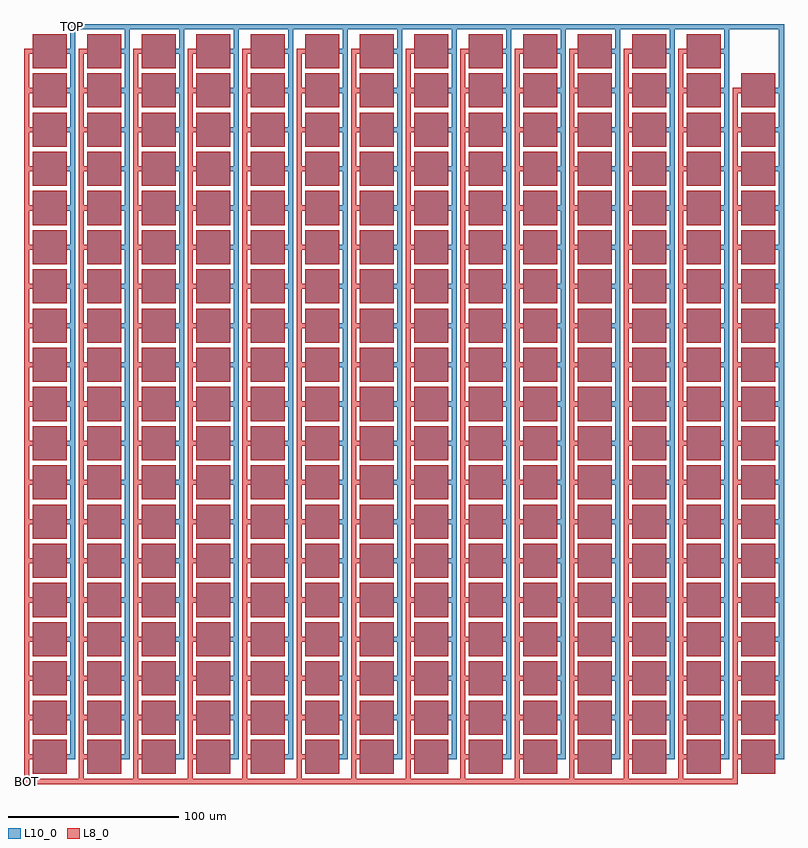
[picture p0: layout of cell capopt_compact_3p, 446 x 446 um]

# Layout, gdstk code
import gdstk
lib = gdstk.Library(unit=1e-6, precision=1e-09)
def R(c, l, rs):  # rectangles x0, y0, x1, y1
    for r in rs: c.add(gdstk.rectangle(r[:2], r[2:], *l))
def A(c, l, x, y, w, h, nx, ny, dx, dy):  # array of equal rectangles
    R(c, l, [(x+i*dx, y+j*dy, x+i*dx+w, y+j*dy+h) for i in range(nx) for j in range(ny)])
L8_0 = (8, 0)
L10_0 = (10, 0)

capopt_compact_3p = lib.new_cell('capopt_compact_3p')
A(capopt_compact_3p, L8_0, -5, -6, 3, 431.5, 13, 1, 32, 0)
A(capopt_compact_3p, L8_0, 0, 0, 20, 20, 14, 18, 32, 23)
A(capopt_compact_3p, L8_0, -5, 8.5, 5, 3, 14, 18, 32, 23)
A(capopt_compact_3p, L8_0, 0, 414, 20, 20, 13, 1, 32, 0)
A(capopt_compact_3p, L8_0, -5, 422.5, 5, 3, 13, 1, 32, 0)
R(capopt_compact_3p, L8_0, [(-5,-6,414,-3), (411,-6,414,402.5)])
A(capopt_compact_3p, L10_0, 0, 0, 20, 20, 14, 18, 32, 23)
A(capopt_compact_3p, L10_0, 20, 8.5, 5, 3, 14, 18, 32, 23)
A(capopt_compact_3p, L10_0, 22, 8.5, 3, 431.5, 14, 1, 32, 0)
A(capopt_compact_3p, L10_0, 0, 414, 20, 20, 13, 1, 32, 0)
A(capopt_compact_3p, L10_0, 20, 422.5, 5, 3, 13, 1, 32, 0)
R(capopt_compact_3p, L10_0, [(22,437,441,440)])
capopt_compact_3p.add(gdstk.Label('BOT', (-3.5,-4.5), layer=8, texttype=7))
capopt_compact_3p.add(gdstk.Label('TOP', (23.5,438.5), layer=10, texttype=7))

lib.write_gds('capopt_compact_3p.gds')
